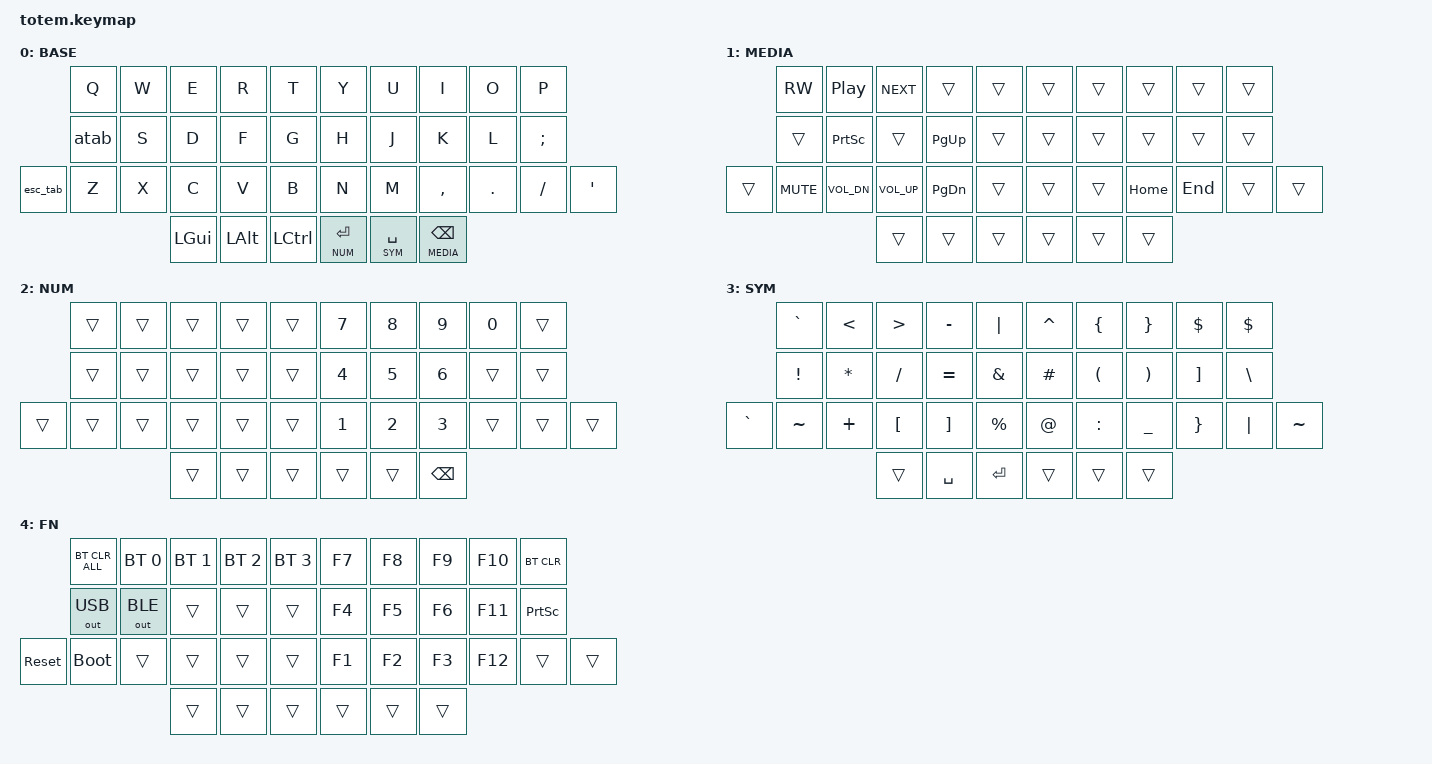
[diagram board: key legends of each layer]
// ▀▀▀▀▀     ▀▀▀▀▀     ▀▀█▀▀
//    ▄▀▀▀▄  ▄    ▄▀▀▀▄  ▄    ▄▀▀▀▄  █  ▄▀▀▀▄
//    █   █  █    █   █  █    █   █  █  █   █
//     ▀▀▀   █     ▀▀▀   █     ▀▀▀   ▀   ▀▀▀
//           █   ▄▄▄█▄▄▄ █                █
//           ▀   █   █   █               █▄█
//               ▀▀▀▀▀   █   █   █        ▀
//                       ▀   ▀   ▀
//
// ▄▄▄▄▄▄▄▄▄▄▄▄▄▄▄▄▄▄▄▄▄▄▄▄▄▄▄▄▄▄▄▄▄▄▄▄▄▄▄▄▄▄▄▄▄▄▄▄▄▄▄▄▄▄▄▄▄▄▄▄▄▄▄▄▄▄▄▄▄▄▄▄▄▄▄▄▄▄▄▄▄▄▄▄▄▄▄▄▄▄▄▄▄▄▄▄▄▄▄▄▄▄▄▄▄▄▄▄▄▄▄▄▄▄▄▄▄▄▄▄▄▄▄▄▄▄▄▄▄▄▄▄▄▄▄▄▄▄▄▄▄▄▄▄▄▄▄▄▄

#include <behaviors.dtsi>
#include <dt-bindings/zmk/keys.h>
#include <dt-bindings/zmk/bt.h>
#include <dt-bindings/zmk/outputs.h>

#define BASE 0
#define MEDIA 1
#define NUM 2
#define SYM 3
#define FN 4

/ {
    behaviors {
        esc_tab: esc_tab {
            compatible = "zmk,behavior-mod-morph";
            label = "ESC_TAB";
            bindings = <&kp ESCAPE>, <&kp RS(TAB)>;
            #binding-cells = <0>;
            mods = <(MOD_LALT|MOD_RALT)>;
            keep-mods = <(MOD_LALT|MOD_RALT)>;
        };
        atab: atab {
            compatible = "zmk,behavior-mod-morph";
            label = "ATAB";
            bindings = <&kp A>, <&kp TAB>;
            #binding-cells = <0>;
            mods = <(MOD_LALT|MOD_RALT)>;
            keep-mods = <(MOD_LALT|MOD_RALT)>;
        };
        tab_esc: tab_esc {
            compatible = "zmk,behavior-mod-morph";
            label = "TAB_ESC";
            bindings = <&kp TAB>, <&kp ESCAPE>;
            #binding-cells = <0>;
            mods = <(MOD_LALT|MOD_RALT)>;
            keep-mods = <(MOD_LALT|MOD_RALT)>;
        };
    };

    combos {
        compatible = "zmk,combos";
        combo_esc {
            timeout-ms = <50>;
            key-positions = <0 1>;
            bindings = <&kp ESC>;
        };
        combo_fn {
            timeout-ms = <100>;
            key-positions = <33 34>;
            bindings = <&mo FN>;
        };
        combo_fd_shift {
            timeout-ms = <50>;
            key-positions = <12 13>;
            bindings = <&kp LSHFT>;
        };
        combo_jk_shift {
            timeout-ms = <50>;
            key-positions = <16 17>;
            bindings = <&kp RSHFT>;
        };
        combo_er_tab {
            timeout-ms = <50>;
            key-positions = <2 3>;
            bindings = <&tab_esc>;
        };
    };

    keymap {
        compatible = "zmk,keymap";

// ▄▄▄▄▄▄▄▄▄▄▄▄▄▄▄▄▄▄▄▄▄▄▄▄▄▄▄▄▄▄▄▄▄▄▄▄▄▄▄▄▄▄▄▄▄▄▄▄▄▄▄▄▄▄▄▄▄▄▄▄▄▄▄▄▄▄▄▄▄▄▄▄▄▄▄▄▄▄▄▄▄▄▄▄▄▄▄▄▄▄▄▄▄▄▄▄▄▄▄▄▄▄▄▄▄▄▄▄▄▄▄▄▄▄▄▄▄▄▄▄▄▄▄▄▄▄▄▄▄▄▄▄▄▄▄▄▄▄▄▄▄▄▄▄▄▄▄▄▄

        base_layer {
        // ┏━━━━━━━━━━━━━━━━━━━━━━━━━━━━━━━━━━━━━━━┓
            label = "BASE";
        // ┗━━━━━━━━━━━━━━━━━━━━━━━━━━━━━━━━━━━━━━━┛
        //             ┏━━━━━━━━━━━┳━━━━━━━━━━━┳━━━━━━━━━━━┳━━━━━━━━━━━┳━━━━━━━━━━━┓   ┏━━━━━━━━━━━┳━━━━━━━━━━━┳━━━━━━━━━━━┳━━━━━━━━━━━┳━━━━━━━━━━━┓
        //             ┃     Q     ┃     W     ┃     E     ┃     R     ┃     T     ┃   ┃     Y     ┃     U     ┃     I     ┃     O     ┃     P     ┃
        //             ┣━━━━━━━━━━━╋━━━━━━━━━━━╋━━━━━━━━━━━╋━━━━━━━━━━━╋━━━━━━━━━━━┫   ┣━━━━━━━━━━━╋━━━━━━━━━━━╋━━━━━━━━━━━╋━━━━━━━━━━━╋━━━━━━━━━━━┫
        //             ┃     A     ┃     S     ┃     D     ┃     F     ┃     G     ┃   ┃     H     ┃     J     ┃     K     ┃     L     ┃     ;     ┃
        // ┏━━━━━━━━━━━╋━━━━━━━━━━━╋━━━━━━━━━━━╋━━━━━━━━━━━╋━━━━━━━━━━━╋━━━━━━━━━━━┫   ┣━━━━━━━━━━━╋━━━━━━━━━━━╋━━━━━━━━━━━╋━━━━━━━━━━━╋━━━━━━━━━━━╋━━━━━━━━━━━┓
        // ┃  ESC/TAB  ┃     Z     ┃     X     ┃     C     ┃     V     ┃     B     ┃   ┃     N     ┃     M     ┃     ,     ┃     .     ┃     /     ┃     '     ┃
        // ┗━━━━━━━━━━━┻━━━━━━━━━━━┻━━━━━━━━━━━╋━━━━━━━━━━━╋━━━━━━━━━━━╋━━━━━━━━━━━┫   ┣━━━━━━━━━━━╋━━━━━━━━━━━╋━━━━━━━━━━━╋━━━━━━━━━━━┻━━━━━━━━━━━┻━━━━━━━━━━━┛
        //                                     ┃    GUI    ┃    ALT    ┃   CTRL    ┃   ┃   ENTER   ┃   SPACE   ┃   BSPC    ┃
        //                                     ┗━━━━━━━━━━━┻━━━━━━━━━━━┻━━━━━━━━━━━┛   ┗━━━━━━━━━━━┻━━━━━━━━━━━┻━━━━━━━━━━━┛
            bindings = <
        //             ╷           ╷           ╷           ╷           ╷           ╷   ╷           ╷           ╷           ╷           ╷           ╷
                        &kp Q       &kp W       &kp E       &kp R       &kp T           &kp Y       &kp U       &kp I       &kp O       &kp P
                        &atab       &kp S       &kp D       &kp F       &kp G           &kp H       &kp J       &kp K       &kp L       &kp SEMI
            &esc_tab    &kp Z       &kp X       &kp C       &kp V       &kp B           &kp N       &kp M       &kp COMMA   &kp DOT     &kp FSLH    &kp SQT
                                                &kp LGUI    &kp LALT    &kp LCTRL       &lt NUM RET &lt SYM SPACE &lt MEDIA BSPC
            >;
        };

// ▄▄▄▄▄▄▄▄▄▄▄▄▄▄▄▄▄▄▄▄▄▄▄▄▄▄▄▄▄▄▄▄▄▄▄▄▄▄▄▄▄▄▄▄▄▄▄▄▄▄▄▄▄▄▄▄▄▄▄▄▄▄▄▄▄▄▄▄▄▄▄▄▄▄▄▄▄▄▄▄▄▄▄▄▄▄▄▄▄▄▄▄▄▄▄▄▄▄▄▄▄▄▄▄▄▄▄▄▄▄▄▄▄▄▄▄▄▄▄▄▄▄▄▄▄▄▄▄▄▄▄▄▄▄▄▄▄▄▄▄▄▄▄▄▄▄▄▄▄

        media_layer {
        // ┏━━━━━━━━━━━━━━━━━━━━━━━━━━━━━━━━━━━━━━━┓
            label = "MEDIA";
        // ┗━━━━━━━━━━━━━━━━━━━━━━━━━━━━━━━━━━━━━━━┛
        //             ┏━━━━━━━━━━━┳━━━━━━━━━━━┳━━━━━━━━━━━┳━━━━━━━━━━━┳━━━━━━━━━━━┓   ┏━━━━━━━━━━━┳━━━━━━━━━━━┳━━━━━━━━━━━┳━━━━━━━━━━━┳━━━━━━━━━━━┓
        //             ┃   REWIND  ┃   PLAY    ┃   NEXT    ┃           ┃           ┃   ┃           ┃           ┃           ┃           ┃           ┃
        //             ┣━━━━━━━━━━━╋━━━━━━━━━━━╋━━━━━━━━━━━╋━━━━━━━━━━━╋━━━━━━━━━━━┫   ┣━━━━━━━━━━━╋━━━━━━━━━━━╋━━━━━━━━━━━╋━━━━━━━━━━━╋━━━━━━━━━━━┫
        //             ┃           ┃  PRTSCR   ┃           ┃   PG UP   ┃           ┃   ┃           ┃           ┃           ┃           ┃           ┃
        // ┏━━━━━━━━━━━╋━━━━━━━━━━━╋━━━━━━━━━━━╋━━━━━━━━━━━╋━━━━━━━━━━━╋━━━━━━━━━━━┫   ┣━━━━━━━━━━━╋━━━━━━━━━━━╋━━━━━━━━━━━╋━━━━━━━━━━━╋━━━━━━━━━━━╋━━━━━━━━━━━┓
        // ┃           ┃   MUTE    ┃   VOL-    ┃   VOL+    ┃   PG DN   ┃           ┃   ┃           ┃           ┃   HOME    ┃    END    ┃           ┃           ┃
        // ┗━━━━━━━━━━━┻━━━━━━━━━━━┻━━━━━━━━━━━╋━━━━━━━━━━━╋━━━━━━━━━━━╋━━━━━━━━━━━┫   ┣━━━━━━━━━━━╋━━━━━━━━━━━╋━━━━━━━━━━━╋━━━━━━━━━━━┻━━━━━━━━━━━┻━━━━━━━━━━━┛
        //                                     ┃           ┃           ┃           ┃   ┃           ┃   ████    ┃           ┃
        //                                     ┗━━━━━━━━━━━┻━━━━━━━━━━━┻━━━━━━━━━━━┛   ┗━━━━━━━━━━━┻━━━━━━━━━━━┻━━━━━━━━━━━┛
            bindings = <
        //             ╷           ╷           ╷           ╷           ╷           ╷   ╷           ╷           ╷           ╷           ╷           ╷
                        &kp C_RW    &kp C_PP    &kp C_NEXT  &trans      &trans          &trans      &trans      &trans      &trans      &trans
                        &trans      &kp PSCRN   &trans      &kp PG_UP   &trans          &trans      &trans      &trans      &trans      &trans
            &trans      &kp C_MUTE  &kp C_VOL_DN &kp C_VOL_UP &kp PG_DN &trans          &trans      &trans      &kp HOME    &kp END     &trans      &trans
                                                &trans      &trans      &trans          &trans      &trans      &trans
            >;
        };

// ▄▄▄▄▄▄▄▄▄▄▄▄▄▄▄▄▄▄▄▄▄▄▄▄▄▄▄▄▄▄▄▄▄▄▄▄▄▄▄▄▄▄▄▄▄▄▄▄▄▄▄▄▄▄▄▄▄▄▄▄▄▄▄▄▄▄▄▄▄▄▄▄▄▄▄▄▄▄▄▄▄▄▄▄▄▄▄▄▄▄▄▄▄▄▄▄▄▄▄▄▄▄▄▄▄▄▄▄▄▄▄▄▄▄▄▄▄▄▄▄▄▄▄▄▄▄▄▄▄▄▄▄▄▄▄▄▄▄▄▄▄▄▄▄▄▄▄▄▄

        numbers_layer {
        // ┏━━━━━━━━━━━━━━━━━━━━━━━━━━━━━━━━━━━━━━━┓
            label = "NUM";
        // ┗━━━━━━━━━━━━━━━━━━━━━━━━━━━━━━━━━━━━━━━┛
        //             ┏━━━━━━━━━━━┳━━━━━━━━━━━┳━━━━━━━━━━━┳━━━━━━━━━━━┳━━━━━━━━━━━┓   ┏━━━━━━━━━━━┳━━━━━━━━━━━┳━━━━━━━━━━━┳━━━━━━━━━━━┳━━━━━━━━━━━┓
        //             ┃           ┃           ┃           ┃           ┃           ┃   ┃     7     ┃     8     ┃     9     ┃     0     ┃           ┃
        //             ┣━━━━━━━━━━━╋━━━━━━━━━━━╋━━━━━━━━━━━╋━━━━━━━━━━━╋━━━━━━━━━━━┫   ┣━━━━━━━━━━━╋━━━━━━━━━━━╋━━━━━━━━━━━╋━━━━━━━━━━━╋━━━━━━━━━━━┫
        //             ┃           ┃           ┃           ┃           ┃           ┃   ┃     4     ┃     5     ┃     6     ┃           ┃           ┃
        // ┏━━━━━━━━━━━╋━━━━━━━━━━━╋━━━━━━━━━━━╋━━━━━━━━━━━╋━━━━━━━━━━━╋━━━━━━━━━━━┫   ┣━━━━━━━━━━━╋━━━━━━━━━━━╋━━━━━━━━━━━╋━━━━━━━━━━━╋━━━━━━━━━━━╋━━━━━━━━━━━┓
        // ┃           ┃           ┃           ┃           ┃           ┃           ┃   ┃     1     ┃     2     ┃     3     ┃           ┃           ┃           ┃
        // ┗━━━━━━━━━━━┻━━━━━━━━━━━┻━━━━━━━━━━━╋━━━━━━━━━━━╋━━━━━━━━━━━╋━━━━━━━━━━━┫   ┣━━━━━━━━━━━╋━━━━━━━━━━━╋━━━━━━━━━━━╋━━━━━━━━━━━┻━━━━━━━━━━━┻━━━━━━━━━━━┛
        //                                     ┃           ┃           ┃   ████    ┃   ┃           ┃           ┃   BSPC    ┃
        //                                     ┗━━━━━━━━━━━┻━━━━━━━━━━━┻━━━━━━━━━━━┛   ┗━━━━━━━━━━━┻━━━━━━━━━━━┻━━━━━━━━━━━┛
            bindings = <
        //             ╷           ╷           ╷           ╷           ╷           ╷   ╷           ╷           ╷           ╷           ╷           ╷
                        &trans      &trans      &trans      &trans      &trans          &kp N7      &kp N8      &kp N9      &kp N0      &trans
                        &trans      &trans      &trans      &trans      &trans          &kp N4      &kp N5      &kp N6      &trans      &trans
            &trans      &trans      &trans      &trans      &trans      &trans          &kp N1      &kp N2      &kp N3      &trans      &trans      &trans
                                                &trans      &trans      &trans          &trans      &trans      &kp BSPC
            >;
        };

// ▄▄▄▄▄▄▄▄▄▄▄▄▄▄▄▄▄▄▄▄▄▄▄▄▄▄▄▄▄▄▄▄▄▄▄▄▄▄▄▄▄▄▄▄▄▄▄▄▄▄▄▄▄▄▄▄▄▄▄▄▄▄▄▄▄▄▄▄▄▄▄▄▄▄▄▄▄▄▄▄▄▄▄▄▄▄▄▄▄▄▄▄▄▄▄▄▄▄▄▄▄▄▄▄▄▄▄▄▄▄▄▄▄▄▄▄▄▄▄▄▄▄▄▄▄▄▄▄▄▄▄▄▄▄▄▄▄▄▄▄▄▄▄▄▄▄▄▄▄

        symbol_layer {
        // ┏━━━━━━━━━━━━━━━━━━━━━━━━━━━━━━━━━━━━━━━┓
            label = "SYM";
        // ┗━━━━━━━━━━━━━━━━━━━━━━━━━━━━━━━━━━━━━━━┛
        //             ┏━━━━━━━━━━━┳━━━━━━━━━━━┳━━━━━━━━━━━┳━━━━━━━━━━━┳━━━━━━━━━━━┓   ┏━━━━━━━━━━━┳━━━━━━━━━━━┳━━━━━━━━━━━┳━━━━━━━━━━━┳━━━━━━━━━━━┓
        //             ┃     `     ┃     <     ┃     >     ┃     -     ┃     |     ┃   ┃     ^     ┃     {     ┃     }     ┃     $     ┃     $     ┃
        //             ┣━━━━━━━━━━━╋━━━━━━━━━━━╋━━━━━━━━━━━╋━━━━━━━━━━━╋━━━━━━━━━━━┫   ┣━━━━━━━━━━━╋━━━━━━━━━━━╋━━━━━━━━━━━╋━━━━━━━━━━━╋━━━━━━━━━━━┫
        //             ┃     !     ┃     *     ┃     /     ┃     =     ┃     &     ┃   ┃     #     ┃     (     ┃     )     ┃     ]     ┃     \     ┃
        // ┏━━━━━━━━━━━╋━━━━━━━━━━━╋━━━━━━━━━━━╋━━━━━━━━━━━╋━━━━━━━━━━━╋━━━━━━━━━━━┫   ┣━━━━━━━━━━━╋━━━━━━━━━━━╋━━━━━━━━━━━╋━━━━━━━━━━━╋━━━━━━━━━━━╋━━━━━━━━━━━┓
        // ┃     `     ┃     ~     ┃     +     ┃     [     ┃     ]     ┃     %     ┃   ┃     @     ┃     :     ┃     _     ┃     }     ┃     |     ┃     ~     ┃
        // ┗━━━━━━━━━━━┻━━━━━━━━━━━┻━━━━━━━━━━━╋━━━━━━━━━━━╋━━━━━━━━━━━╋━━━━━━━━━━━┫   ┣━━━━━━━━━━━╋━━━━━━━━━━━╋━━━━━━━━━━━╋━━━━━━━━━━━┻━━━━━━━━━━━┻━━━━━━━━━━━┛
        //                                     ┃           ┃   SPACE   ┃   ENTER   ┃   ┃   ████    ┃           ┃           ┃
        //                                     ┗━━━━━━━━━━━┻━━━━━━━━━━━┻━━━━━━━━━━━┛   ┗━━━━━━━━━━━┻━━━━━━━━━━━┻━━━━━━━━━━━┛
            bindings = <
        //             ╷           ╷           ╷           ╷           ╷           ╷   ╷           ╷           ╷           ╷           ╷           ╷
                        &kp GRAVE   &kp LT      &kp GT      &kp MINUS   &kp PIPE        &kp CARET   &kp LBRC    &kp RBRC    &kp DLLR    &kp DLLR
                        &kp EXCL    &kp STAR    &kp FSLH    &kp EQUAL   &kp AMPS        &kp POUND   &kp LPAR    &kp RPAR    &kp RBKT    &kp BSLH
            &kp GRAVE   &kp TILDE   &kp PLUS    &kp LBKT    &kp RBKT    &kp PRCNT       &kp AT      &kp COLON   &kp UNDER   &kp RBRC    &kp PIPE    &kp TILDE
                                                &trans      &kp SPACE   &kp RET         &trans      &trans      &trans
            >;
        };

// ▄▄▄▄▄▄▄▄▄▄▄▄▄▄▄▄▄▄▄▄▄▄▄▄▄▄▄▄▄▄▄▄▄▄▄▄▄▄▄▄▄▄▄▄▄▄▄▄▄▄▄▄▄▄▄▄▄▄▄▄▄▄▄▄▄▄▄▄▄▄▄▄▄▄▄▄▄▄▄▄▄▄▄▄▄▄▄▄▄▄▄▄▄▄▄▄▄▄▄▄▄▄▄▄▄▄▄▄▄▄▄▄▄▄▄▄▄▄▄▄▄▄▄▄▄▄▄▄▄▄▄▄▄▄▄▄▄▄▄▄▄▄▄▄▄▄▄▄▄

        fn_layer {
        // ┏━━━━━━━━━━━━━━━━━━━━━━━━━━━━━━━━━━━━━━━┓
            label = "FN";
        // ┗━━━━━━━━━━━━━━━━━━━━━━━━━━━━━━━━━━━━━━━┛
        //             ┏━━━━━━━━━━━┳━━━━━━━━━━━┳━━━━━━━━━━━┳━━━━━━━━━━━┳━━━━━━━━━━━┓   ┏━━━━━━━━━━━┳━━━━━━━━━━━┳━━━━━━━━━━━┳━━━━━━━━━━━┳━━━━━━━━━━━┓
        //             ┃  BT CLR   ┃   BT 0    ┃   BT 1    ┃   BT 2    ┃   BT 3    ┃   ┃    F7     ┃    F8     ┃    F9     ┃    F10    ┃  BT CLR   ┃
        //             ┣━━━━━━━━━━━╋━━━━━━━━━━━╋━━━━━━━━━━━╋━━━━━━━━━━━╋━━━━━━━━━━━┫   ┣━━━━━━━━━━━╋━━━━━━━━━━━╋━━━━━━━━━━━╋━━━━━━━━━━━╋━━━━━━━━━━━┫
        //             ┃  OUT USB  ┃  OUT BLE  ┃           ┃           ┃           ┃   ┃    F4     ┃    F5     ┃    F6     ┃    F11    ┃  PRTSCR   ┃
        // ┏━━━━━━━━━━━╋━━━━━━━━━━━╋━━━━━━━━━━━╋━━━━━━━━━━━╋━━━━━━━━━━━╋━━━━━━━━━━━┫   ┣━━━━━━━━━━━╋━━━━━━━━━━━╋━━━━━━━━━━━╋━━━━━━━━━━━╋━━━━━━━━━━━╋━━━━━━━━━━━┓
        // ┃  RESET    ┃  BOOTLDR  ┃           ┃           ┃           ┃           ┃   ┃    F1     ┃    F2     ┃    F3     ┃    F12    ┃           ┃           ┃
        // ┗━━━━━━━━━━━┻━━━━━━━━━━━┻━━━━━━━━━━━╋━━━━━━━━━━━╋━━━━━━━━━━━╋━━━━━━━━━━━┫   ┣━━━━━━━━━━━╋━━━━━━━━━━━╋━━━━━━━━━━━╋━━━━━━━━━━━┻━━━━━━━━━━━┻━━━━━━━━━━━┛
        //                                     ┃           ┃           ┃           ┃   ┃           ┃           ┃           ┃
        //                                     ┗━━━━━━━━━━━┻━━━━━━━━━━━┻━━━━━━━━━━━┛   ┗━━━━━━━━━━━┻━━━━━━━━━━━┻━━━━━━━━━━━┛
            bindings = <
        //             ╷           ╷           ╷           ╷           ╷           ╷   ╷           ╷           ╷           ╷           ╷           ╷
                        &bt BT_CLR_ALL &bt BT_SEL 0 &bt BT_SEL 1 &bt BT_SEL 2 &bt BT_SEL 3   &kp F7   &kp F8      &kp F9      &kp F10     &bt BT_CLR
                        &out OUT_USB &out OUT_BLE &trans     &trans      &trans          &kp F4      &kp F5      &kp F6      &kp F11     &kp PSCRN
            &sys_reset  &bootloader &trans      &trans      &trans      &trans          &kp F1      &kp F2      &kp F3      &kp F12     &trans      &trans
                                                &trans      &trans      &trans          &trans      &trans      &trans
            >;
        };
    };
};
